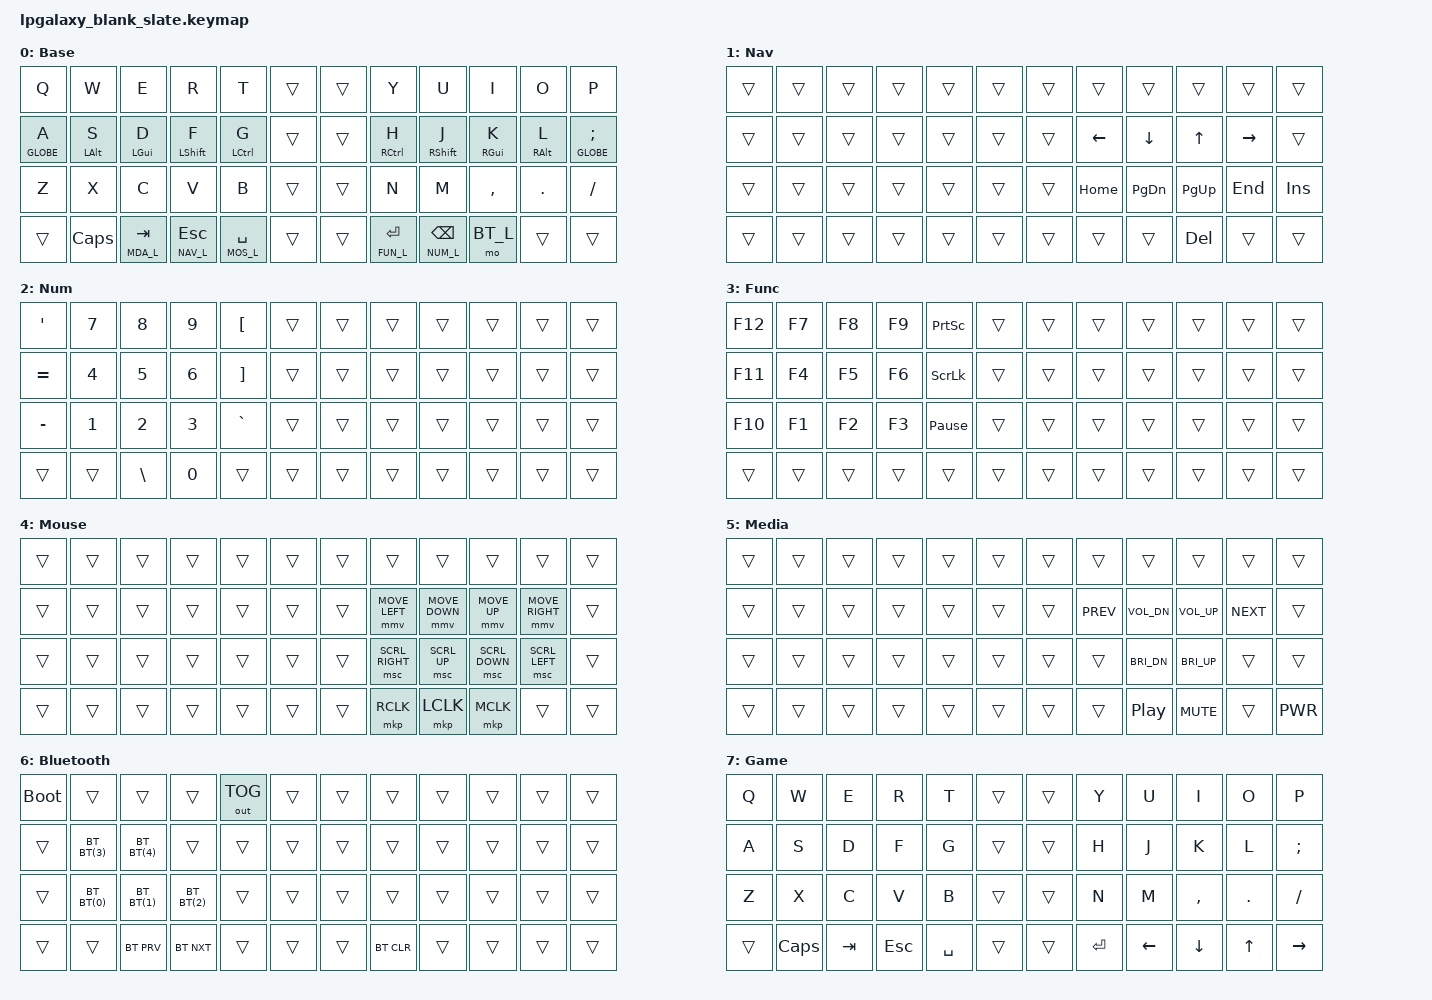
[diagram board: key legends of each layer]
/*
 * Copyright (c) 2022 Pete Johanson
 *
 * SPDX-License-Identifier: MIT
 */

#include <behaviors.dtsi>

#include <dt-bindings/zmk/keys.h>
#include <dt-bindings/zmk/bt.h>
#include <dt-bindings/zmk/outputs.h>

// mouse-related variables
#define ZMK_POINTING_DEFAULT_MOVE_VAL 1500  // default: 600
#define ZMK_POINTING_DEFAULT_SCRL_VAL 20    // default: 10

#include <dt-bindings/zmk/pointing.h>

#define TBLE_ORTHO   1

#define NAV_L 1
#define NUM_L 2
#define FUN_L 3
#define MOS_L 4
#define MDA_L 5
#define BT_L 6
#define GAME_L 7
#define BT(n) BT_SEL n

/ {
    kscan: kscan {
        compatible = "zmk,kscan-gpio-matrix";
        diode-direction = "col2row";
        wakeup-source;
    };
};

/ {
    combos {
        compatible = "zmk,combos";
        combo_esc {
            timeout-ms = <50>;
            key-positions = <32 33>;
            bindings = <&kp LC(SPACE)>;
        };
        combo_semicolon {
            timeout-ms = <50>;
            key-positions = <33 34>;
            bindings = <&kp SEMI>;
        };
        combo_caps_word {
            timeout-ms = <50>;
            key-positions = <27 32>;
            bindings = <&caps_word>;
        };
        combo_game_toggle {
            timeout-ms = <50>;
            key-positions = <36 47>;
            bindings = <&tog GAME_L>;
        };
    };
};

&caps_word {
    continue-list = <UNDERSCORE MINUS>;
};

&soft_off {
    hold-time-ms = <5000>; // Only turn off it the key is held for 5 seconds or longer.
};

/ {
    // ! Use this config when you need different keymap for your keyboard except ortho !
    // chosen {
    //     zmk,physical-layout =
    //         #ifdef TBLE_DUAL_2U
    //            &layout_ortho_4x12_2x2u;
    //         #elif defined(TBLE_MIT)
    //            &layout_ortho_4x12_1x2u;
    //         #else
    //            &layout_ortho_4x12_all1u;
    //         #endif
    // };

      macros {
            ZMK_MACRO(
                  thumbs_up,
                  wait-ms = <1>;
                  tap-ms = <5>;
                        bindings = <&kp PLUS &kp COLON &kp PLUS &kp N1 &kp COLON &kp RET>;
            )
      };

      tap_dances {
            shifty: shift_caps_word {
                  compatible = "zmk,behavior-tap-dance";
                  label = "TD_SHIFTY";
                  #binding-cells = <0>;
                  tapping-term-ms = <150>;
                  bindings = <&kp LSHFT>, <&caps_word>;
            };
      };

      behavior {
            hm: home_row_mode {
                  compatible = "zmk,behavior-hold-tap";
                  #binding-cells = <2>;
                  flavor = "tap-preferred";
                  tapping-term-ms = <150>;
                  bindings = <&kp>, <&kp>;
            };
      };

      keymap {
            compatible = "zmk,keymap";

            base_layer {
                  label = "Base";
                  bindings = <
                  //╭────────────┬────────────┬────────────┬────────────┬────────────┬────────────┬────────────┬────────────┬────────────┬────────────┬────────────┬────────────╮
                  //│   Q        │   W        │   E        │   R        │   T        │            │            │   Y        │   U        │   I        │   O        │   P        │
                       &kp Q        &kp W        &kp E        &kp R        &kp T         &trans       &trans       &kp Y        &kp U        &kp I        &kp O        &kp P
                  //├────────────┼────────────┼────────────┼────────────┼────────────┼────────────┼────────────┼────────────┼────────────┼────────────┼────────────┼────────────┤
                  //│  Globle/A  │  OPT/S     │  CMD/D     │  SHFT/F    │  CTRL/G    │            │            │   CTRL/H   │   SHFT/J   │   CMD/K    │   OPT/L    │   Globe/;  │
                      &hm GLOBE A  &hm LALT S   &hm LGUI D   &hm LSHFT F  &hm LCTRL G    &trans       &trans     &hm RCTRL H  &hm RSHFT J  &hm RGUI K   &hm RALT L  &hm GLOBE SEMI
                  //├────────────┼────────────┼────────────┼────────────┼────────────┼────────────┼────────────┼────────────┼────────────┼────────────┼────────────┼────────────┤
                  //│   Z        │   X        │   C        │   V        │   B        │            │            │   N        │   M        │   , <      │   . >      │   / ?      │
                       &kp Z        &kp X        &kp C        &kp V        &kp B         &trans       &trans       &kp N        &kp M       &kp COMMA    &kp DOT      &kp FSLH
                  //├────────────┼────────────┼────────────┼────────────┼────────────┼────────────┼────────────┼────────────┼────────────┼────────────┼────────────┼────────────┤
                  //│            │  CAPS      │ TAB/MDA_L  │ ESC/NAV_L  │  SPC/MOS_L │            │            │   ENTER    │  <-/NUM_L  │   BT_L     │            │            │
                       &trans     &kp CAPS    &lt MDA_L TAB &lt NAV_L ESC &lt MOS_L SPACE  &trans     &trans   &lt FUN_L RET &lt NUM_L BKSP &mo BT_L     &trans       &trans
                  //╰────────────┴────────────┴────────────┴────────────┴────────────┴────────────┴────────────┴────────────┴────────────┴────────────┴────────────┴────────────╯
                  >;
            };

            nav_layer {
                  label = "Nav";
                  bindings = <
                  //╭────────────┬────────────┬────────────┬────────────┬────────────┬────────────┬────────────┬────────────┬────────────┬────────────┬────────────┬────────────╮
                  //│            │            │            │            │            │            │            │            │            │            │            │            │
                        &trans       &trans       &trans       &trans       &trans       &trans       &trans       &trans       &trans       &trans       &trans       &trans
                  //├────────────┼────────────┼────────────┼────────────┼────────────┼────────────┼────────────┼────────────┼────────────┼────────────┼────────────┼────────────┤
                  //│            │            │            │            │            │            │            │    ←       │    ↓       │    ↑       │    →       │            │
                        &trans       &trans       &trans       &trans       &trans       &trans       &trans       &kp LEFT     &kp DOWN     &kp UP       &kp RIGHT    &trans
                  //├────────────┼────────────┼────────────┼────────────┼────────────┼────────────┼────────────┼────────────┼────────────┼────────────┼────────────┼────────────┤
                  //│            │            │            │            │            │            │            │   Home     │   PageDown │   PageUp   │    End     │   Insert   │
                        &trans       &trans       &trans       &trans       &trans       &trans       &trans       &kp HOME     &kp PG_DN    &kp PG_UP     &kp END    &kp INS
                  //├────────────┼────────────┼────────────┼────────────┼────────────┼────────────┼────────────┼────────────┼────────────┼────────────┼────────────┼────────────┤
                  //│            │            │            │            │            │            │            │            │            │   DELETE   │            │            │
                        &trans       &trans       &trans       &trans       &trans       &trans       &trans       &trans       &trans       &kp DEL      &trans       &trans
                  //╰────────────┴────────────┴────────────┴────────────┴────────────┴────────────┴────────────┴────────────┴────────────┴────────────┴────────────┴────────────╯
                  >;
            };

            num_layer {
                  label = "Num";
                  bindings = <
                  //╭────────────┬────────────┬────────────┬────────────┬────────────┬────────────┬────────────┬────────────┬────────────┬────────────┬────────────┬────────────╮
                  //│    '       │    7       │    8       │    9       │    [       │            │            │            │            │            │            │            │
                        &kp SQT      &kp N7       &kp N8       &kp N9       &kp LBKT     &trans       &trans       &trans      &trans        &trans       &trans       &trans
                  //├────────────┼────────────┼────────────┼────────────┼────────────┼────────────┼────────────┼────────────┼────────────┼────────────┼────────────┼────────────┤
                  //│    =       │    4       │    5       │    6       │    ]       │            │            │            │            │            │            │            │
                       &kp EQUAL     &kp N4       &kp N5       &kp N6      &kp RBKT      &trans       &trans       &trans      &trans        &trans       &trans       &trans
                  //├────────────┼────────────┼────────────┼────────────┼────────────┼────────────┼────────────┼────────────┼────────────┼────────────┼────────────┼────────────┤
                  //│    -       │    1       │    2       │    3       │    `       │            │            │            │            │            │            │            │
                       &kp MINUS     &kp N1       &kp N2       &kp N3      &kp GRAVE     &trans       &trans       &trans      &trans        &trans       &trans       &trans
                  //├────────────┼────────────┼────────────┼────────────┼────────────┼────────────┼────────────┼────────────┼────────────┼────────────┼────────────┼────────────┤
                  //│            │            │    \       │    0       │            │            │            │            │            │            │            │            │
                        &trans       &trans      &kp BSLH      &kp N0       &trans       &trans       &trans       &trans      &trans        &trans       &trans       &trans
                  //╰────────────┴────────────┴────────────┴────────────┴────────────┴────────────┴────────────┴────────────┴────────────┴────────────┴────────────┴────────────╯
                  >;
            };

            func_layer {
                  label = "Func";
                  bindings = <
                  //╭────────────┬────────────┬────────────┬────────────┬────────────┬────────────┬────────────┬────────────┬────────────┬────────────┬────────────┬────────────╮
                  //│    F12     │    F7      │    F8      │   F9       │  PRNT SCRN │            │            │            │            │            │            │            │
                        &kp F12      &kp F7       &kp F8       &kp F9      &kp PSCRN     &trans       &trans       &trans      &trans        &trans       &trans       &trans
                  //├────────────┼────────────┼────────────┼────────────┼────────────┼────────────┼────────────┼────────────┼────────────┼────────────┼────────────┼────────────┤
                  //│    F11     │    F4      │    F5      │   F6       │  SCRL LOCK │            │            │            │            │            │            │            │
                        &kp F11      &kp F4       &kp F5       &kp F6      &kp SLCK      &trans       &trans       &trans      &trans        &trans       &trans       &trans
                  //├────────────┼────────────┼────────────┼────────────┼────────────┼────────────┼────────────┼────────────┼────────────┼────────────┼────────────┼────────────┤
                  //│    F10     │    F1      │    F2      │   F3       │   PAUSE    │            │            │            │            │            │            │            │
                       &kp F10       &kp F1       &kp F2       &kp F3   &kp PAUSE_BREAK  &trans       &trans       &trans      &trans        &trans       &trans       &trans
                  //├────────────┼────────────┼────────────┼────────────┼────────────┼────────────┼────────────┼────────────┼────────────┼────────────┼────────────┼────────────┤
                  //│            │            │            │            │            │            │            │            │            │            │            │            │
                        &trans       &trans       &trans       &trans      &trans        &trans       &trans       &trans      &trans        &trans       &trans       &trans
                  //╰────────────┴────────────┴────────────┴────────────┴────────────┴────────────┴────────────┴────────────┴────────────┴────────────┴────────────┴────────────╯
                  >;
            };

            mouse_layer {
                  label = "Mouse";
                  bindings = <
                  //╭────────────┬────────────┬────────────┬────────────┬────────────┬────────────┬────────────┬────────────┬────────────┬────────────┬────────────┬────────────╮
                  //│            │            │            │            │            │            │            │            │            │            │            │            │
                        &trans       &trans       &trans       &trans       &trans       &trans       &trans       &trans       &trans       &trans      &trans       &trans
                  //├────────────┼────────────┼────────────┼────────────┼────────────┼────────────┼────────────┼────────────┼────────────┼────────────┼────────────┼────────────┤
                  //│            │            │            │            │            │            │            │  Cursor  ← │  Cursor ↓  │  Cursor ↑  │  Cursor →  │            │
                        &trans       &trans       &trans       &trans       &trans       &trans      &trans  &mmv MOVE_LEFT &mmv MOVE_DOWN &mmv MOVE_UP &mmv MOVE_RIGHT &trans
                  //├────────────┼────────────┼────────────┼────────────┼────────────┼────────────┼────────────┼────────────┼────────────┼────────────┼────────────┼────────────┤
                  //│            │            │            │            │            │            │            │  Scroll  ← │  Scroll ↓  │  Scroll ↑  │  Scroll →  │            │
                        &trans       &trans       &trans       &trans       &trans       &trans       &trans &msc SCRL_RIGHT &msc SCRL_UP &msc SCRL_DOWN &msc SCRL_LEFT  &trans
                  //├────────────┼────────────┼────────────┼────────────┼────────────┼────────────┼────────────┼────────────┼────────────┼────────────┼────────────┼────────────┤
                  //│            │            │            │            │            │            │            │   RIGHT    │   LEFT     │   MIDDLE   │            │            │
                        &trans       &trans       &trans       &trans       &trans       &trans       &trans      &mkp RCLK    &mkp LCLK    &mkp MCLK     &trans      &trans
                  //╰────────────┴────────────┴────────────┴────────────┴────────────┴────────────┴────────────┴────────────┴────────────┴────────────┴────────────┴────────────╯
                  >;
            };

            media_layer {
                  label = "Media";
                  bindings = <
                  //╭────────────┬────────────┬────────────┬────────────┬────────────┬────────────┬────────────┬────────────┬────────────┬────────────┬────────────┬────────────╮
                  //│            │            │            │            │            │            │            │            │            │            │            │            │
                        &trans       &trans       &trans       &trans       &trans       &trans       &trans       &trans       &trans       &trans       &trans       &trans
                  //├────────────┼────────────┼────────────┼────────────┼────────────┼────────────┼────────────┼────────────┼────────────┼────────────┼────────────┼────────────┤
                  //│            │            │            │            │            │            │            │  PREVIOUS  │ VOLUME DOWN│  VOLUME UP │    NEXT    │            │
                        &trans       &trans       &trans       &trans       &trans       &trans       &trans     &kp C_PREV  &kp C_VOL_DN &kp C_VOL_UP  &kp C_NEXT     &trans
                  //├────────────┼────────────┼────────────┼────────────┼────────────┼────────────┼────────────┼────────────┼────────────┼────────────┼────────────┼────────────┤
                  //│            │            │            │            │            │            │            │            │ BRIGHT DOWN│  BRIGHT UP │            │            │
                        &trans       &trans       &trans       &trans       &trans       &trans       &trans       &trans    &kp C_BRI_DN &kp C_BRI_UP    &trans       &trans
                  //├────────────┼────────────┼────────────┼────────────┼────────────┼────────────┼────────────┼────────────┼────────────┼────────────┼────────────┼────────────┤
                  //│            │            │            │            │            │            │            │            │ PLAY/PAUSE │    MUTE    │            │   POWER    │
                        &trans       &trans       &trans       &trans       &trans       &trans       &trans       &trans      &kp C_PP    &kp C_MUTE     &trans     &kp C_PWR
                  //╰────────────┴────────────┴────────────┴────────────┴────────────┴────────────┴────────────┴────────────┴────────────┴────────────┴────────────┴────────────╯
                  >;
            };

            bluetooth_layer {
                  label = "Bluetooth";
                  bindings = <
                  //╭────────────┬────────────┬────────────┬────────────┬────────────┬────────────┬────────────┬────────────┬────────────┬────────────┬────────────┬────────────╮
                  //│   BOOT     │            │            │            │ USB <-> BT │            │            │            │            │            │            │            │
                      &bootloader    &trans       &trans       &trans    &out OUT_TOG    &trans       &trans       &trans       &trans       &trans       &trans      &trans
                  //├────────────┼────────────┼────────────┼────────────┼────────────┼────────────┼────────────┼────────────┼────────────┼────────────┼────────────┼────────────┤
                  //│            │   BT 4     │   BT 5     │            │            │            │            │            │            │            │            │            │
                        &trans      &bt BT(3)    &bt BT(4)     &trans       &trans       &trans       &trans       &trans       &trans       &trans      &trans       &trans
                  //├────────────┼────────────┼────────────┼────────────┼────────────┼────────────┼────────────┼────────────┼────────────┼────────────┼────────────┼────────────┤
                  //│            │   BT 1     │   BT 2     │   BT 3     │            │            │            │            │            │            │            │            │
                        &trans      &bt BT(0)    &bt BT(1)    &bt BT(2)     &trans       &trans       &trans       &trans       &trans       &trans      &trans       &trans
                  //├────────────┼────────────┼────────────┼────────────┼────────────┼────────────┼────────────┼────────────┼────────────┼────────────┼────────────┼────────────┤
                  //│            │            │  PREV BT   │  NEXT BT   │            │            │            │  BT CLEAR  │            │            │            │            │
                        &trans       &trans     &bt BT_PRV   &bt BT_NXT     &trans       &trans       &trans     &bt BT_CLR     &trans       &trans      &trans       &trans
                  //╰────────────┴────────────┴────────────┴────────────┴────────────┴────────────┴────────────┴────────────┴────────────┴────────────┴────────────┴────────────╯
                  >;
            };

            game_layer {
                  label = "Game";
                  bindings = <
                  //╭────────────┬────────────┬────────────┬────────────┬────────────┬────────────┬────────────┬────────────┬────────────┬────────────┬────────────┬────────────╮
                  //│   Q        │   W        │   E        │   R        │   T        │            │            │   Y        │   U        │   I        │   O        │   P        │
                       &kp Q        &kp W        &kp E        &kp R        &kp T         &trans       &trans       &kp Y        &kp U        &kp I        &kp O        &kp P
                  //├────────────┼────────────┼────────────┼────────────┼────────────┼────────────┼────────────┼────────────┼────────────┼────────────┼────────────┼────────────┤
                  //│   A        │  S         │  D         │  F         │   G        │            │            │   H        │   J        │   K        │   L        │   ;        │
                       &kp A        &kp S        &kp D        &kp F        &kp G         &trans       &trans       &kp H        &kp J        &kp K        &kp L       &kp SEMI
                  //├────────────┼────────────┼────────────┼────────────┼────────────┼────────────┼────────────┼────────────┼────────────┼────────────┼────────────┼────────────┤
                  //│   Z        │   X        │   C        │   V        │   B        │            │            │   N        │   M        │   , <      │   . >      │   / ?      │
                       &kp Z        &kp X        &kp C        &kp V        &kp B         &trans       &trans       &kp N        &kp M       &kp COMMA    &kp DOT      &kp FSLH
                  //├────────────┼────────────┼────────────┼────────────┼────────────┼────────────┼────────────┼────────────┼────────────┼────────────┼────────────┼────────────┤
                  //│            │  CAPS      │  TAB       │   ESC      │   SPC      │            │            │   ENTER    │    ←       │    ↓       │    ↑       │            │
                       &trans     &kp CAPS       &kp TAB      &kp ESC     &kp SPACE      &trans       &trans     &kp RET        &kp LEFT     &kp DOWN     &kp UP      &kp RIGHT
                  //╰────────────┴────────────┴────────────┴────────────┴────────────┴────────────┴────────────┴────────────┴────────────┴────────────┴────────────┴────────────╯
                  >;
            };

      };
};
